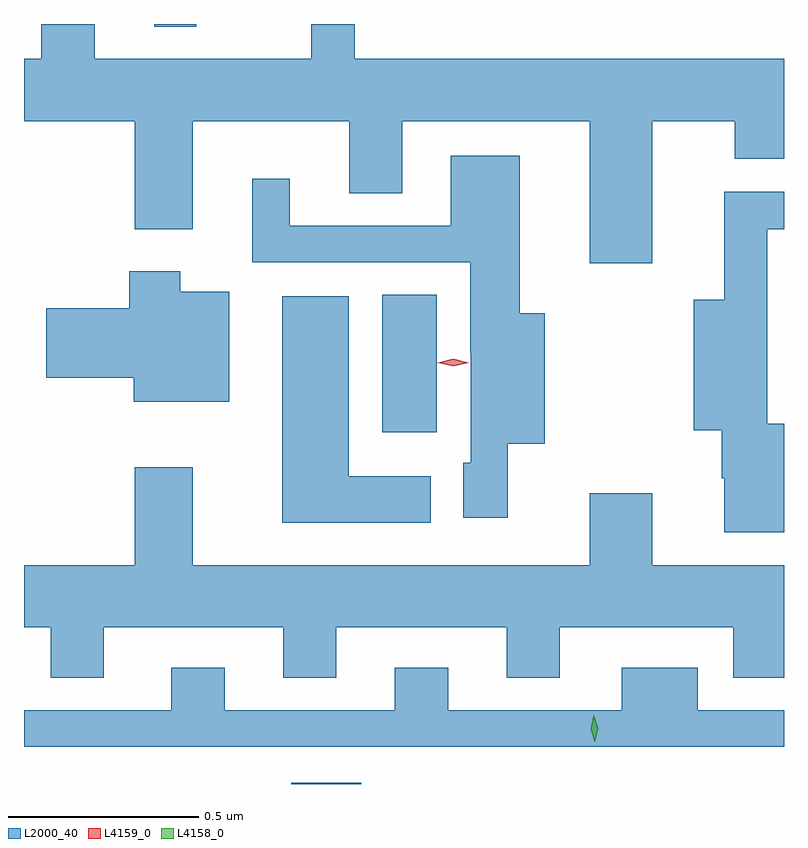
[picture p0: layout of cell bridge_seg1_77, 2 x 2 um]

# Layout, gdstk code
import gdstk
lib = gdstk.Library(unit=1e-6, precision=1e-09)
def R(c, l, rs):  # rectangles x0, y0, x1, y1
    for r in rs: c.add(gdstk.rectangle(r[:2], r[2:], *l))
def P(c, l, *ps):  # polygons
    for p in ps: c.add(gdstk.Polygon(p, *l))
L2000_40 = (2000, 40)
L4158_0 = (4158, 0)
L4159_0 = (4159, 0)

bridge_seg1_77 = lib.new_cell('bridge_seg1_77')
R(bridge_seg1_77, L2000_40, [(559.826,518.02,560.01,518.023), (560.066,518.946,560.209,519.308), (559.466,520.013,559.576,520.02)])
P(bridge_seg1_77, L2000_40, [(560.776,519.764),(560.993,519.764),(560.993,519.665),(561.123,519.665),(561.123,519.928),(559.993,519.928),(559.993,520.02),(559.879,520.02),(559.879,519.928),(559.309,519.928),(559.309,520.02),(559.169,520.02),(559.169,519.928),(559.123,519.928),(559.123,519.764),(559.415,519.764),(559.415,519.48),(559.567,519.48),(559.567,519.764),(559.979,519.764),(559.979,519.574),(560.119,519.574),(560.119,519.764),(560.612,519.764),(560.612,519.39),(560.776,519.39)],
  [(560.396,518.915),(560.494,518.915),(560.494,519.259),(560.428,519.259),(560.428,519.673),(560.246,519.673),(560.246,519.489),(559.822,519.489),(559.822,519.613),(559.724,519.613),(559.724,519.393),(560.297,519.393),(560.297,519.155),(560.298,519.155),(560.298,518.865),(560.279,518.865),(560.279,518.721),(560.396,518.721)],
  [(561.123,518.968),(561.079,518.968),(561.079,519.48),(561.123,519.48),(561.123,519.578),(560.966,519.578),(560.966,519.295),(560.885,519.295),(560.885,518.951),(560.959,518.951),(560.959,518.825),(560.966,518.825),(560.966,518.682),(561.123,518.682)],
  [(559.663,519.316),(559.534,519.316),(559.534,519.37),(559.4,519.37),(559.4,519.272),(559.182,519.272),(559.182,519.089),(559.412,519.089),(559.412,519.026),(559.663,519.026)],
  [(560.194,518.83),(559.978,518.83),(559.978,519.304),(559.802,519.304),(559.802,518.708),(560.194,518.708)],
  [(559.333,518.432),(559.805,518.432),(559.805,518.299),(559.945,518.299),(559.945,518.432),(560.393,518.432),(560.393,518.299),(560.533,518.299),(560.533,518.432),(560.99,518.432),(560.99,518.299),(561.123,518.299),(561.123,518.596),(560.776,518.596),(560.776,518.785),(560.612,518.785),(560.612,518.596),(559.567,518.596),(559.567,518.854),(559.415,518.854),(559.415,518.596),(559.123,518.596),(559.123,518.432),(559.193,518.432),(559.193,518.299),(559.333,518.299)],
  [(561.123,518.214),(560.896,518.214),(560.896,518.326),(560.696,518.326),(560.696,518.214),(560.239,518.214),(560.239,518.326),(560.099,518.326),(560.099,518.214),(559.651,518.214),(559.651,518.326),(559.511,518.326),(559.511,518.214),(559.123,518.214),(559.123,518.118),(561.123,518.118)])
P(bridge_seg1_77, L4158_0, [(560.625,518.131),(560.625,518.131),(560.614,518.166),(560.622,518.201),(560.622,518.202),(560.622,518.201),(560.634,518.167),(560.625,518.131)])
P(bridge_seg1_77, L4159_0, [(560.252,519.119),(560.212,519.129),(560.212,519.129),(560.212,519.129),(560.252,519.139),(560.293,519.129),(560.293,519.129),(560.293,519.129)])

lib.write_gds('bridge_seg1_77.gds')
